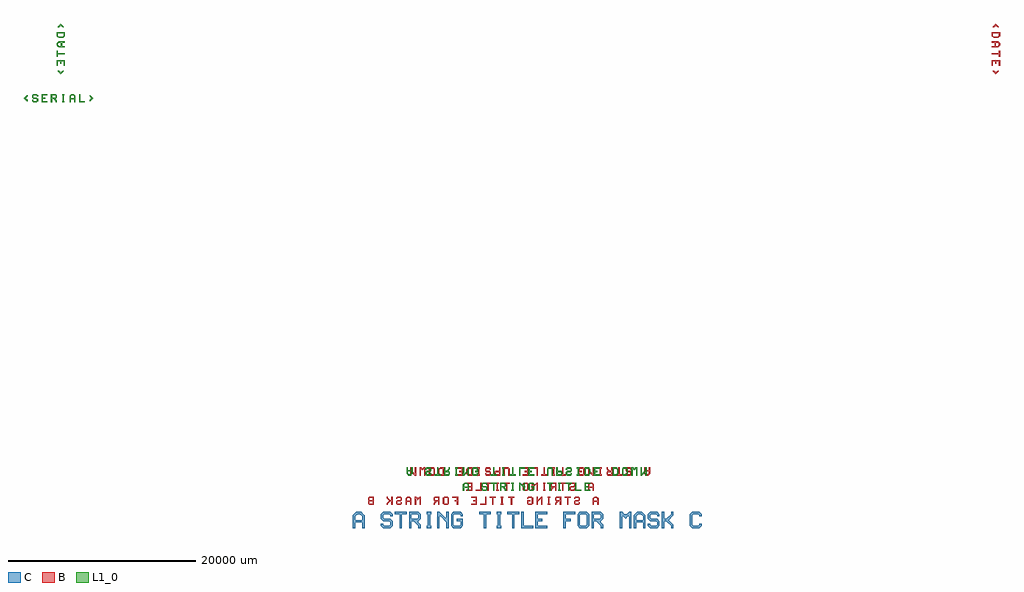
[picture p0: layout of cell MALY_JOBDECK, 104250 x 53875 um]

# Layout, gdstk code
import gdstk
lib = gdstk.Library(unit=1e-6, precision=1e-09)
def P(c, l, *ps):  # polygons
    for p in ps: c.add(gdstk.Polygon(p, *l))
L1_0 = (1, 0)
B = (2, 0)
C = (3, 0)

mask_c = lib.new_cell('MASK_C')
P(mask_c, C, [(125,-52000),(0,-51875),(0,-51250),(125,-51125),(500,-51125),(625,-51250),(625,-51375),(500,-51375),(500,-51312.5),(437.5,-51250),(187.5,-51250),(125,-51312.5),(125,-51812.5),(187.5,-51875),(437.5,-51875),(500,-51812.5),(500,-51625),(312.5,-51625),(312.5,-51500),(625,-51500),(625,-51875),(500,-52000)],
  [(-1000,-52000),(-1000,-51125),(-875,-51125),(-562.5,-51437.5),(-500,-51437.5),(-500,-51125),(-375,-51125),(-375,-52000),(-500,-52000),(-500,-51687.5),(-812.5,-51375),(-875,-51375),(-875,-52000)],
  [(-3750,-52000),(-3750,-51250),(-4000,-51250),(-4000,-51125),(-3375,-51125),(-3375,-51250),(-3625,-51250),(-3625,-52000)],
  [(2250,-52000),(2250,-51250),(2000,-51250),(2000,-51125),(2625,-51125),(2625,-51250),(2375,-51250),(2375,-52000)],
  [(4250,-52000),(4250,-51250),(4000,-51250),(4000,-51125),(4625,-51125),(4625,-51250),(4375,-51250),(4375,-52000)],
  [(10125,-50375),(10000,-50250),(10000,-49625),(10125,-49500),(10500,-49500),(10625,-49625),(10625,-49937.5),(10500,-49937.5),(10500,-49687.5),(10437.5,-49625),(10187.5,-49625),(10125,-49687.5),(10125,-50187.5),(10187.5,-50250),(10437.5,-50250),(10500,-50187.5),(10500,-49937.5),(10625,-49937.5),(10625,-50250),(10500,-50375)],
  [(6000,-50375),(6000,-49500),(6437.5,-49500),(6625,-49687.5),(6625,-50187.5),(6562.5,-50250),(6375,-50250),(6500,-50125),(6500,-49750),(6375,-49625),(6125,-49625),(6125,-50250),(6562.5,-50250),(6437.5,-50375)],
  [(9000,-50375),(9000,-49500),(9437.5,-49500),(9625,-49687.5),(9625,-50187.5),(9562.5,-50250),(9375,-50250),(9500,-50125),(9500,-49750),(9375,-49625),(9125,-49625),(9125,-50250),(9562.5,-50250),(9437.5,-50375)],
  [(3000,-50375),(3000,-49500),(3125,-49500),(3125,-50250),(3437.5,-50250),(3500,-50187.5),(3500,-50062.5),(3437.5,-50000),(3125,-50000),(3125,-49875),(3500,-49875),(3625,-50000),(3625,-50250),(3500,-50375)],
  [(2000,-50375),(2000,-49625),(2125,-49500),(2500,-49500),(2625,-49625),(2625,-50375),(2500,-50375),(2500,-49687.5),(2437.5,-49625),(2187.5,-49625),(2125,-49687.5),(2125,-50375)],
  [(-10875,-56000),(-10875,-55750),(-10750,-55750),(-10750,-54500),(-10875,-54500),(-10875,-54250),(-10375,-54250),(-10375,-54500),(-10500,-54500),(-10500,-55750),(-10375,-55750),(-10375,-56000)],
  [(-3375,-56000),(-3375,-55750),(-3250,-55750),(-3250,-54500),(-3375,-54500),(-3375,-54250),(-2875,-54250),(-2875,-54500),(-3000,-54500),(-3000,-55750),(-2875,-55750),(-2875,-56000)],
  [(-12750,-56000),(-12750,-54250),(-11750,-54250),(-11500,-54500),(-12500,-54500),(-12500,-55000),(-11875,-55000),(-11750,-54875),(-11750,-54625),(-11875,-54500),(-11500,-54500),(-11500,-55000),(-11750,-55250),(-11750,-55375),(-11500,-55625),(-11500,-56000),(-11750,-56000),(-11750,-55750),(-12250,-55250),(-12500,-55250),(-12500,-56000)],
  [(6750,-56000),(6750,-54250),(7750,-54250),(8000,-54500),(7000,-54500),(7000,-55000),(7625,-55000),(7750,-54875),(7750,-54625),(7625,-54500),(8000,-54500),(8000,-55000),(7750,-55250),(7750,-55375),(8000,-55625),(8000,-56000),(7750,-56000),(7750,-55750),(7250,-55250),(7000,-55250),(7000,-56000)],
  [(-15500,-56000),(-15750,-55750),(-15750,-55500),(-15500,-55500),(-15500,-55625),(-15375,-55750),(-14875,-55750),(-14750,-55625),(-14750,-55375),(-14875,-55250),(-15500,-55250),(-15750,-55000),(-15750,-54500),(-15500,-54250),(-14750,-54250),(-14500,-54500),(-14500,-54750),(-14750,-54750),(-14750,-54625),(-14875,-54500),(-15375,-54500),(-15500,-54625),(-15500,-54875),(-15375,-55000),(-14750,-55000),(-14500,-55250),(-14500,-55750),(-14750,-56000)],
  [(13000,-56000),(12750,-55750),(12750,-55500),(13000,-55500),(13000,-55625),(13125,-55750),(13625,-55750),(13750,-55625),(13750,-55375),(13625,-55250),(13000,-55250),(12750,-55000),(12750,-54500),(13000,-54250),(13750,-54250),(14000,-54500),(14000,-54750),(13750,-54750),(13750,-54625),(13625,-54500),(13125,-54500),(13000,-54625),(13000,-54875),(13125,-55000),(13750,-55000),(14000,-55250),(14000,-55750),(13750,-56000)],
  [(5000,-52000),(5000,-51125),(5125,-51125),(5125,-51875),(5625,-51875),(5625,-52000)],
  [(-48000,-10500),(-48000,-9625),(-47875,-9625),(-47875,-10375),(-47375,-10375),(-47375,-10500)],
  [(-750,-56000),(-750,-54250),(-500,-54250),(-500,-55750),(500,-55750),(500,-56000)],
  [(-7000,-52000),(-7000,-51312.5),(-6812.5,-51125),(-6562.5,-51125),(-6437.5,-51250),(-6750,-51250),(-6875,-51375),(-6875,-51562.5),(-6500,-51562.5),(-6500,-51375),(-6625,-51250),(-6437.5,-51250),(-6375,-51312.5),(-6375,-52000),(-6500,-52000),(-6500,-51687.5),(-6875,-51687.5),(-6875,-52000)],
  [(-49000,-10500),(-49000,-9812.5),(-48812.5,-9625),(-48562.5,-9625),(-48437.5,-9750),(-48750,-9750),(-48875,-9875),(-48875,-10062.5),(-48500,-10062.5),(-48500,-9875),(-48625,-9750),(-48437.5,-9750),(-48375,-9812.5),(-48375,-10500),(-48500,-10500),(-48500,-10187.5),(-48875,-10187.5),(-48875,-10500)],
  [(11000,-50375),(11000,-49500),(11187.5,-49500),(11312.5,-49625),(11437.5,-49500),(11625,-49500),(11625,-50375),(11500,-50375),(11500,-49687.5),(11437.5,-49687.5),(11312.5,-49812.5),(11187.5,-49687.5),(11125,-49687.5),(11125,-50375)],
  [(-13750,-56000),(-13750,-54500),(-14250,-54500),(-14250,-54250),(-13000,-54250),(-13000,-54500),(-13500,-54500),(-13500,-56000)],
  [(-4750,-56000),(-4750,-54500),(-5250,-54500),(-5250,-54250),(-4000,-54250),(-4000,-54500),(-4500,-54500),(-4500,-56000)],
  [(-1750,-56000),(-1750,-54500),(-2250,-54500),(-2250,-54250),(-1000,-54250),(-1000,-54500),(-1500,-54500),(-1500,-56000)],
  [(-1812.5,-52000),(-1812.5,-51875),(-1750,-51875),(-1750,-51250),(-1812.5,-51250),(-1812.5,-51125),(-1562.5,-51125),(-1562.5,-51250),(-1625,-51250),(-1625,-51875),(-1562.5,-51875),(-1562.5,-52000)],
  [(3187.5,-52000),(3187.5,-51875),(3250,-51875),(3250,-51250),(3187.5,-51250),(3187.5,-51125),(3437.5,-51125),(3437.5,-51250),(3375,-51250),(3375,-51875),(3437.5,-51875),(3437.5,-52000)],
  [(-7812.5,-50375),(-7812.5,-50250),(-7750,-50250),(-7750,-49625),(-7812.5,-49625),(-7812.5,-49500),(-7562.5,-49500),(-7562.5,-49625),(-7625,-49625),(-7625,-50250),(-7562.5,-50250),(-7562.5,-50375)],
  [(-2812.5,-50375),(-2812.5,-50250),(-2750,-50250),(-2750,-49625),(-2812.5,-49625),(-2812.5,-49500),(-2562.5,-49500),(-2562.5,-49625),(-2625,-49625),(-2625,-50250),(-2562.5,-50250),(-2562.5,-50375)],
  [(5187.5,-50375),(5187.5,-50250),(5250,-50250),(5250,-49625),(5187.5,-49625),(5187.5,-49500),(5437.5,-49500),(5437.5,-49625),(5375,-49625),(5375,-50250),(5437.5,-50250),(5437.5,-50375)],
  [(-49812.5,-10500),(-49812.5,-10375),(-49750,-10375),(-49750,-9750),(-49812.5,-9750),(-49812.5,-9625),(-49562.5,-9625),(-49562.5,-9750),(-49625,-9750),(-49625,-10375),(-49562.5,-10375),(-49562.5,-10500)],
  [(-12812.5,-50375),(-13000,-50187.5),(-13000,-49500),(-12875,-49500),(-12875,-49812.5),(-12500,-49812.5),(-12500,-49500),(-12375,-49500),(-12375,-50187.5),(-12437.5,-50250),(-12625,-50250),(-12500,-50125),(-12500,-49937.5),(-12875,-49937.5),(-12875,-50125),(-12750,-50250),(-12437.5,-50250),(-12562.5,-50375)],
  [(-3000,-52000),(-3000,-51125),(-2500,-51125),(-2375,-51250),(-2875,-51250),(-2875,-51500),(-2562.5,-51500),(-2500,-51437.5),(-2500,-51312.5),(-2562.5,-51250),(-2375,-51250),(-2375,-51500),(-2500,-51625),(-2500,-51687.5),(-2375,-51812.5),(-2375,-52000),(-2500,-52000),(-2500,-51875),(-2750,-51625),(-2875,-51625),(-2875,-52000)],
  [(-51000,-10500),(-51000,-9625),(-50500,-9625),(-50375,-9750),(-50875,-9750),(-50875,-10000),(-50562.5,-10000),(-50500,-9937.5),(-50500,-9812.5),(-50562.5,-9750),(-50375,-9750),(-50375,-10000),(-50500,-10125),(-50500,-10187.5),(-50375,-10312.5),(-50375,-10500),(-50500,-10500),(-50500,-10375),(-50750,-10125),(-50875,-10125),(-50875,-10500)],
  [(-18750,-56000),(-18750,-54625),(-18375,-54250),(-17875,-54250),(-17625,-54500),(-18250,-54500),(-18500,-54750),(-18500,-55125),(-17750,-55125),(-17750,-54750),(-18000,-54500),(-17625,-54500),(-17500,-54625),(-17500,-56000),(-17750,-56000),(-17750,-55375),(-18500,-55375),(-18500,-56000)],
  [(11250,-56000),(11250,-54625),(11625,-54250),(12125,-54250),(12375,-54500),(11750,-54500),(11500,-54750),(11500,-55125),(12250,-55125),(12250,-54750),(12000,-54500),(12375,-54500),(12500,-54625),(12500,-56000),(12250,-56000),(12250,-55375),(11500,-55375),(11500,-56000)],
  [(-10875,-50375),(-11000,-50250),(-11000,-50000),(-10875,-49875),(-10562.5,-49875),(-10500,-49812.5),(-10500,-49687.5),(-10562.5,-49625),(-10812.5,-49625),(-10875,-49687.5),(-10875,-49750),(-11000,-49750),(-11000,-49625),(-10875,-49500),(-10500,-49500),(-10375,-49625),(-10375,-49875),(-10500,-50000),(-10812.5,-50000),(-10875,-50062.5),(-10875,-50187.5),(-10812.5,-50250),(-10562.5,-50250),(-10500,-50187.5),(-10500,-50125),(-10375,-50125),(-10375,-50250),(-10500,-50375)],
  [(4125,-50375),(4000,-50250),(4000,-50000),(4125,-49875),(4437.5,-49875),(4500,-49812.5),(4500,-49687.5),(4437.5,-49625),(4187.5,-49625),(4125,-49687.5),(4125,-49750),(4000,-49750),(4000,-49625),(4125,-49500),(4500,-49500),(4625,-49625),(4625,-49875),(4500,-50000),(4187.5,-50000),(4125,-50062.5),(4125,-50187.5),(4187.5,-50250),(4437.5,-50250),(4500,-50187.5),(4500,-50125),(4625,-50125),(4625,-50250),(4500,-50375)],
  [(-46875,-10375),(-46875,-10250),(-46687.5,-10062.5),(-46875,-9875),(-46875,-9750),(-46812.5,-9750),(-46500,-10062.5),(-46812.5,-10375)],
  [(-53562.5,-10375),(-53875,-10062.5),(-53562.5,-9750),(-53500,-9750),(-53500,-9875),(-53687.5,-10062.5),(-53500,-10250),(-53500,-10375)],
  [(-9000,-50375),(-9000,-49500),(-8875,-49500),(-8875,-49875),(-8750,-49875),(-8500,-49625),(-8500,-49500),(-8375,-49500),(-8375,-49687.5),(-8500,-49812.5),(-8500,-49875),(-8375,-50000),(-8375,-50250),(-8562.5,-50250),(-8500,-50187.5),(-8500,-50062.5),(-8562.5,-50000),(-8875,-50000),(-8875,-50250),(-8375,-50250),(-8500,-50375)],
  [(750,-56000),(750,-54250),(2000,-54250),(2000,-54500),(1000,-54500),(1000,-55000),(1500,-55000),(1500,-55250),(1000,-55250),(1000,-55750),(2000,-55750),(2000,-56000)],
  [(6000,-52000),(6000,-51125),(6625,-51125),(6625,-51250),(6125,-51250),(6125,-51500),(6375,-51500),(6375,-51625),(6125,-51625),(6125,-51875),(6625,-51875),(6625,-52000)],
  [(0,-50375),(0,-49500),(625,-49500),(625,-49625),(125,-49625),(125,-49875),(375,-49875),(375,-50000),(125,-50000),(125,-50250),(625,-50250),(625,-50375)],
  [(7000,-50375),(7000,-49500),(7625,-49500),(7625,-49625),(7125,-49625),(7125,-49875),(7375,-49875),(7375,-50000),(7125,-50000),(7125,-50250),(7625,-50250),(7625,-50375)],
  [(-52000,-10500),(-52000,-9625),(-51375,-9625),(-51375,-9750),(-51875,-9750),(-51875,-10000),(-51625,-10000),(-51625,-10125),(-51875,-10125),(-51875,-10375),(-51375,-10375),(-51375,-10500)],
  [(-7000,-50375),(-7000,-49500),(-6875,-49500),(-6875,-50125),(-6812.5,-50125),(-6500,-49812.5),(-6500,-49500),(-6375,-49500),(-6375,-50375),(-6500,-50375),(-6500,-50062.5),(-6562.5,-50062.5),(-6875,-50375)],
  [(12000,-50375),(12000,-49500),(12125,-49500),(12125,-50125),(12187.5,-50125),(12500,-49812.5),(12500,-49500),(12625,-49500),(12625,-50375),(12500,-50375),(12500,-50062.5),(12437.5,-50062.5),(12125,-50375)],
  [(3750,-56000),(3750,-54250),(5000,-54250),(5000,-54500),(4000,-54500),(4000,-55000),(4500,-55000),(4500,-55250),(4000,-55250),(4000,-56000)],
  [(-4875,-52000),(-5000,-51875),(-5000,-51750),(-4875,-51750),(-4875,-51812.5),(-4812.5,-51875),(-4562.5,-51875),(-4500,-51812.5),(-4500,-51687.5),(-4562.5,-51625),(-4875,-51625),(-5000,-51500),(-5000,-51250),(-4875,-51125),(-4500,-51125),(-4375,-51250),(-4375,-51375),(-4500,-51375),(-4500,-51312.5),(-4562.5,-51250),(-4812.5,-51250),(-4875,-51312.5),(-4875,-51437.5),(-4812.5,-51500),(-4500,-51500),(-4375,-51625),(-4375,-51875),(-4500,-52000)],
  [(-52875,-10500),(-53000,-10375),(-53000,-10250),(-52875,-10250),(-52875,-10312.5),(-52812.5,-10375),(-52562.5,-10375),(-52500,-10312.5),(-52500,-10187.5),(-52562.5,-10125),(-52875,-10125),(-53000,-10000),(-53000,-9750),(-52875,-9625),(-52500,-9625),(-52375,-9750),(-52375,-9875),(-52500,-9875),(-52500,-9812.5),(-52562.5,-9750),(-52812.5,-9750),(-52875,-9812.5),(-52875,-9937.5),(-52812.5,-10000),(-52500,-10000),(-52375,-10125),(-52375,-10375),(-52500,-10500)],
  [(-8000,-56000),(-8250,-55750),(-8250,-54500),(-8000,-54250),(-7250,-54250),(-7000,-54500),(-7000,-54750),(-7250,-54750),(-7250,-54625),(-7375,-54500),(-7875,-54500),(-8000,-54625),(-8000,-55625),(-7875,-55750),(-7375,-55750),(-7250,-55625),(-7250,-55250),(-7625,-55250),(-7625,-55000),(-7000,-55000),(-7000,-55750),(-7250,-56000)],
  [(9750,-56000),(9750,-54250),(10000,-54250),(10250,-54500),(10500,-54500),(10750,-54250),(11000,-54250),(11000,-56000),(10750,-56000),(10750,-54750),(10625,-54750),(10375,-55000),(10125,-54750),(10000,-54750),(10000,-56000)],
  [(14250,-56000),(14250,-54250),(14500,-54250),(14500,-55000),(14750,-55000),(15250,-54500),(15250,-54250),(15500,-54250),(15500,-54625),(15000,-55125),(15500,-55625),(15500,-56000),(15250,-56000),(15250,-55750),(14750,-55250),(14500,-55250),(14500,-56000)],
  [(5500,-56000),(5250,-55750),(5250,-54500),(5500,-54250),(6250,-54250),(6500,-54500),(6500,-55125),(6250,-55125),(6250,-54625),(6125,-54500),(5625,-54500),(5500,-54625),(5500,-55625),(5625,-55750),(6125,-55750),(6250,-55625),(6250,-55125),(6500,-55125),(6500,-55750),(6250,-56000)],
  [(17500,-56000),(17250,-55750),(17250,-54500),(17500,-54250),(18250,-54250),(18500,-54500),(18500,-54750),(18250,-54750),(18250,-54625),(18125,-54500),(17625,-54500),(17500,-54625),(17500,-55625),(17625,-55750),(18125,-55750),(18250,-55625),(18250,-55500),(18500,-55500),(18500,-55750),(18250,-56000)],
  [(-10000,-50375),(-10000,-50250),(-9750,-50250),(-9750,-49500),(-9625,-49500),(-9625,-50250),(-9375,-50250),(-9375,-50375)],
  [(-4000,-50375),(-4000,-50250),(-3750,-50250),(-3750,-49500),(-3625,-49500),(-3625,-50250),(-3375,-50250),(-3375,-50375)],
  [(-2000,-50375),(-2000,-50250),(-1750,-50250),(-1750,-49500),(-1625,-49500),(-1625,-50250),(-1375,-50250),(-1375,-50375)],
  [(-5875,-50375),(-6000,-50250),(-6000,-49625),(-5875,-49500),(-5500,-49500),(-5375,-49625),(-5375,-50000),(-5687.5,-50000),(-5687.5,-49875),(-5500,-49875),(-5500,-49687.5),(-5562.5,-49625),(-5812.5,-49625),(-5875,-49687.5),(-5875,-50187.5),(-5812.5,-50250),(-5562.5,-50250),(-5500,-50187.5),(-5500,-50125),(-5375,-50125),(-5375,-50250),(-5500,-50375)],
  [(-9750,-56000),(-9750,-54250),(-9500,-54250),(-8875,-54875),(-8750,-54875),(-8750,-54250),(-8500,-54250),(-8500,-56000),(-8750,-56000),(-8750,-55375),(-9375,-54750),(-9500,-54750),(-9500,-56000)],
  [(-1000,-50375),(-1000,-49500),(-375,-49500),(-375,-49625),(-875,-49625),(-875,-50375)])

mask_b = lib.new_cell('MASK_B')
P(mask_b, B, [(-11625,-50375),(-11625,-49500),(-11437.5,-49500),(-11312.5,-49625),(-11187.5,-49500),(-11000,-49500),(-11000,-50375),(-11125,-50375),(-11125,-49687.5),(-11187.5,-49687.5),(-11312.5,-49812.5),(-11437.5,-49687.5),(-11500,-49687.5),(-11500,-50375)],
  [(0,-53500),(-125,-53375),(-125,-53000),(187.5,-53000),(187.5,-53125),(0,-53125),(0,-53312.5),(62.5,-53375),(312.5,-53375),(375,-53312.5),(375,-52812.5),(312.5,-52750),(62.5,-52750),(0,-52812.5),(0,-52875),(-125,-52875),(-125,-52750),(0,-52625),(375,-52625),(500,-52750),(500,-53375),(375,-53500)],
  [(-500,-52000),(-625,-51875),(-625,-51500),(-312.5,-51500),(-312.5,-51625),(-500,-51625),(-500,-51812.5),(-437.5,-51875),(-187.5,-51875),(-125,-51812.5),(-125,-51312.5),(-187.5,-51250),(-437.5,-51250),(-500,-51312.5),(-500,-51375),(-625,-51375),(-625,-51250),(-500,-51125),(-125,-51125),(0,-51250),(0,-51875),(-125,-52000)],
  [(875,-53500),(875,-52625),(1000,-52625),(1000,-52937.5),(1062.5,-52937.5),(1375,-52625),(1500,-52625),(1500,-53500),(1375,-53500),(1375,-52875),(1312.5,-52875),(1000,-53187.5),(1000,-53500)],
  [(375,-52000),(375,-51125),(500,-51125),(500,-51437.5),(562.5,-51437.5),(875,-51125),(1000,-51125),(1000,-52000),(875,-52000),(875,-51375),(812.5,-51375),(500,-51687.5),(500,-52000)],
  [(49625,-2500),(49625,-2437.5),(49937.5,-2125),(50250,-2437.5),(50250,-2500),(50125,-2500),(49937.5,-2312.5),(49750,-2500)],
  [(-3875,-53500),(-3875,-52750),(-4125,-52750),(-4125,-52625),(-3500,-52625),(-3500,-52750),(-3750,-52750),(-3750,-53500)],
  [(-1875,-53500),(-1875,-52750),(-2125,-52750),(-2125,-52625),(-1500,-52625),(-1500,-52750),(-1750,-52750),(-1750,-53500)],
  [(4125,-53500),(4125,-52750),(3875,-52750),(3875,-52625),(4500,-52625),(4500,-52750),(4250,-52750),(4250,-53500)],
  [(-4375,-52000),(-4375,-51250),(-4625,-51250),(-4625,-51125),(-4000,-51125),(-4000,-51250),(-4250,-51250),(-4250,-52000)],
  [(-2375,-52000),(-2375,-51250),(-2625,-51250),(-2625,-51125),(-2000,-51125),(-2000,-51250),(-2250,-51250),(-2250,-52000)],
  [(3625,-52000),(3625,-51250),(3375,-51250),(3375,-51125),(4000,-51125),(4000,-51250),(3750,-51250),(3750,-52000)],
  [(-13125,-53500),(-13125,-52812.5),(-13062.5,-52750),(-12875,-52750),(-13000,-52875),(-13000,-53062.5),(-12625,-53062.5),(-12625,-52875),(-12750,-52750),(-13062.5,-52750),(-12937.5,-52625),(-12687.5,-52625),(-12500,-52812.5),(-12500,-53500),(-12625,-53500),(-12625,-53187.5),(-13000,-53187.5),(-13000,-53500)],
  [(6875,-53500),(6875,-52812.5),(6937.5,-52750),(7125,-52750),(7000,-52875),(7000,-53062.5),(7375,-53062.5),(7375,-52875),(7250,-52750),(6937.5,-52750),(7062.5,-52625),(7312.5,-52625),(7500,-52812.5),(7500,-53500),(7375,-53500),(7375,-53187.5),(7000,-53187.5),(7000,-53500)],
  [(6375,-52000),(6375,-51312.5),(6437.5,-51250),(6625,-51250),(6500,-51375),(6500,-51562.5),(6875,-51562.5),(6875,-51375),(6750,-51250),(6437.5,-51250),(6562.5,-51125),(6812.5,-51125),(7000,-51312.5),(7000,-52000),(6875,-52000),(6875,-51687.5),(6500,-51687.5),(6500,-52000)],
  [(-6125,-53500),(-6125,-53375),(-5625,-53375),(-5625,-53125),(-5875,-53125),(-5875,-53000),(-5625,-53000),(-5625,-52750),(-6125,-52750),(-6125,-52625),(-5500,-52625),(-5500,-53500)],
  [(-6625,-52000),(-6625,-51875),(-6125,-51875),(-6125,-51625),(-6375,-51625),(-6375,-51500),(-6125,-51500),(-6125,-51250),(-6625,-51250),(-6625,-51125),(-6000,-51125),(-6000,-52000)],
  [(-7625,-50375),(-7625,-50250),(-7125,-50250),(-7125,-50000),(-7375,-50000),(-7375,-49875),(-7125,-49875),(-7125,-49625),(-7625,-49625),(-7625,-49500),(-7000,-49500),(-7000,-50375)],
  [(-625,-50375),(-625,-50250),(-125,-50250),(-125,-50000),(-375,-50000),(-375,-49875),(-125,-49875),(-125,-49625),(-625,-49625),(-625,-49500),(0,-49500),(0,-50375)],
  [(-14000,-53500),(-14125,-53375),(-14125,-53125),(-14000,-53000),(-13687.5,-53000),(-13625,-52937.5),(-13625,-52812.5),(-13687.5,-52750),(-13937.5,-52750),(-14000,-52812.5),(-14000,-52875),(-14125,-52875),(-14125,-52750),(-14000,-52625),(-13625,-52625),(-13500,-52750),(-13500,-53000),(-13625,-53125),(-13937.5,-53125),(-14000,-53187.5),(-14000,-53312.5),(-13937.5,-53375),(-13687.5,-53375),(-13625,-53312.5),(-13625,-53250),(-13500,-53250),(-13500,-53375),(-13625,-53500)],
  [(5000,-53500),(4875,-53375),(4875,-53125),(5000,-53000),(5312.5,-53000),(5375,-52937.5),(5375,-52812.5),(5312.5,-52750),(5062.5,-52750),(5000,-52812.5),(5000,-52875),(4875,-52875),(4875,-52750),(5000,-52625),(5375,-52625),(5500,-52750),(5500,-53000),(5375,-53125),(5062.5,-53125),(5000,-53187.5),(5000,-53312.5),(5062.5,-53375),(5312.5,-53375),(5375,-53312.5),(5375,-53250),(5500,-53250),(5500,-53375),(5375,-53500)],
  [(4500,-52000),(4375,-51875),(4375,-51625),(4500,-51500),(4812.5,-51500),(4875,-51437.5),(4875,-51312.5),(4812.5,-51250),(4562.5,-51250),(4500,-51312.5),(4500,-51375),(4375,-51375),(4375,-51250),(4500,-51125),(4875,-51125),(5000,-51250),(5000,-51500),(4875,-51625),(4562.5,-51625),(4500,-51687.5),(4500,-51812.5),(4562.5,-51875),(4812.5,-51875),(4875,-51812.5),(4875,-51750),(5000,-51750),(5000,-51875),(4875,-52000)],
  [(49500,-6625),(49500,-6000),(50375,-6000),(50375,-6625),(50250,-6625),(50250,-6125),(50000,-6125),(50000,-6375),(49875,-6375),(49875,-6125),(49625,-6125),(49625,-6625)],
  [(49937.5,-7500),(49625,-7187.5),(49625,-7125),(49750,-7125),(49937.5,-7312.5),(50125,-7125),(50250,-7125),(50250,-7187.5)],
  [(-2937.5,-53500),(-2937.5,-53375),(-2875,-53375),(-2875,-52750),(-2937.5,-52750),(-2937.5,-52625),(-2687.5,-52625),(-2687.5,-52750),(-2750,-52750),(-2750,-53375),(-2687.5,-53375),(-2687.5,-53500)],
  [(2062.5,-53500),(2062.5,-53375),(2125,-53375),(2125,-52750),(2062.5,-52750),(2062.5,-52625),(2312.5,-52625),(2312.5,-52750),(2250,-52750),(2250,-53375),(2312.5,-53375),(2312.5,-53500)],
  [(-3437.5,-52000),(-3437.5,-51875),(-3375,-51875),(-3375,-51250),(-3437.5,-51250),(-3437.5,-51125),(-3187.5,-51125),(-3187.5,-51250),(-3250,-51250),(-3250,-51875),(-3187.5,-51875),(-3187.5,-52000)],
  [(1562.5,-52000),(1562.5,-51875),(1625,-51875),(1625,-51250),(1562.5,-51250),(1562.5,-51125),(1812.5,-51125),(1812.5,-51250),(1750,-51250),(1750,-51875),(1812.5,-51875),(1812.5,-52000)],
  [(-5437.5,-50375),(-5437.5,-50250),(-5375,-50250),(-5375,-49625),(-5437.5,-49625),(-5437.5,-49500),(-5187.5,-49500),(-5187.5,-49625),(-5250,-49625),(-5250,-50250),(-5187.5,-50250),(-5187.5,-50375)],
  [(2562.5,-50375),(2562.5,-50250),(2625,-50250),(2625,-49625),(2562.5,-49625),(2562.5,-49500),(2812.5,-49500),(2812.5,-49625),(2750,-49625),(2750,-50250),(2812.5,-50250),(2812.5,-50375)],
  [(7562.5,-50375),(7562.5,-50250),(7625,-50250),(7625,-49625),(7562.5,-49625),(7562.5,-49500),(7812.5,-49500),(7812.5,-49625),(7750,-49625),(7750,-50250),(7812.5,-50250),(7812.5,-50375)],
  [(-10125,-53500),(-10125,-53312.5),(-10000,-53187.5),(-10000,-53125),(-10125,-53000),(-10125,-52750),(-9937.5,-52750),(-10000,-52812.5),(-10000,-52937.5),(-9937.5,-53000),(-9625,-53000),(-9625,-52750),(-10125,-52750),(-10000,-52625),(-9500,-52625),(-9500,-53500),(-9625,-53500),(-9625,-53125),(-9750,-53125),(-10000,-53375),(-10000,-53500)],
  [(2875,-53500),(2875,-53312.5),(3000,-53187.5),(3000,-53125),(2875,-53000),(2875,-52750),(3062.5,-52750),(3000,-52812.5),(3000,-52937.5),(3062.5,-53000),(3375,-53000),(3375,-52750),(2875,-52750),(3000,-52625),(3500,-52625),(3500,-53500),(3375,-53500),(3375,-53125),(3250,-53125),(3000,-53375),(3000,-53500)],
  [(2375,-52000),(2375,-51812.5),(2500,-51687.5),(2500,-51625),(2375,-51500),(2375,-51250),(2562.5,-51250),(2500,-51312.5),(2500,-51437.5),(2562.5,-51500),(2875,-51500),(2875,-51250),(2375,-51250),(2500,-51125),(3000,-51125),(3000,-52000),(2875,-52000),(2875,-51625),(2750,-51625),(2500,-51875),(2500,-52000)],
  [(-12625,-50375),(-12625,-49500),(-12500,-49500),(-12500,-49812.5),(-12187.5,-50125),(-12125,-50125),(-12125,-49500),(-12000,-49500),(-12000,-50375),(-12125,-50375),(-12437.5,-50062.5),(-12500,-50062.5),(-12500,-50375)],
  [(6375,-50375),(6375,-49500),(6500,-49500),(6500,-49812.5),(6812.5,-50125),(6875,-50125),(6875,-49500),(7000,-49500),(7000,-50375),(6875,-50375),(6562.5,-50062.5),(6500,-50062.5),(6500,-50375)],
  [(49687.5,-3625),(49500,-3437.5),(49500,-3000),(50375,-3000),(50375,-3437.5),(50250,-3562.5),(50250,-3125),(49625,-3125),(49625,-3375),(49750,-3500),(50125,-3500),(50250,-3375),(50250,-3562.5),(50187.5,-3625)],
  [(49500,-4625),(49500,-4500),(49812.5,-4500),(49812.5,-4125),(49500,-4125),(49500,-4000),(50187.5,-4000),(50375,-4187.5),(50375,-4437.5),(50250,-4562.5),(50250,-4250),(50125,-4125),(49937.5,-4125),(49937.5,-4500),(50125,-4500),(50250,-4375),(50250,-4562.5),(50187.5,-4625)],
  [(-2625,-50375),(-2625,-49625),(-2500,-49500),(-2125,-49500),(-2000,-49625),(-2000,-50375),(-2125,-50375),(-2125,-49687.5),(-2187.5,-49625),(-2437.5,-49625),(-2500,-49687.5),(-2500,-50375)],
  [(-5125,-53500),(-5125,-53375),(-4625,-53375),(-4625,-52625),(-4500,-52625),(-4500,-53500)],
  [(-5625,-52000),(-5625,-51875),(-5125,-51875),(-5125,-51125),(-5000,-51125),(-5000,-52000)],
  [(-7625,-53500),(-7625,-53125),(-7875,-53125),(-7875,-53000),(-7625,-53000),(-7625,-52750),(-8125,-52750),(-8125,-52625),(-7500,-52625),(-7500,-53500)],
  [(-9437.5,-50375),(-9562.5,-50250),(-9125,-50250),(-9125,-49625),(-9375,-49625),(-9500,-49750),(-9500,-50125),(-9375,-50250),(-9562.5,-50250),(-9625,-50187.5),(-9625,-49687.5),(-9437.5,-49500),(-9000,-49500),(-9000,-50375)],
  [(-6437.5,-50375),(-6562.5,-50250),(-6125,-50250),(-6125,-49625),(-6375,-49625),(-6500,-49750),(-6500,-50125),(-6375,-50250),(-6562.5,-50250),(-6625,-50187.5),(-6625,-49687.5),(-6437.5,-49500),(-6000,-49500),(-6000,-50375)],
  [(-15125,-53500),(-15125,-53312.5),(-14875,-53062.5),(-15125,-52812.5),(-15125,-52625),(-15000,-52625),(-15000,-52750),(-14750,-53000),(-14625,-53000),(-14625,-52625),(-14500,-52625),(-14500,-53500),(-14625,-53500),(-14625,-53125),(-14750,-53125),(-15000,-53375),(-15000,-53500)],
  [(875,-50375),(875,-49625),(375,-49625),(375,-49500),(1000,-49500),(1000,-50375)],
  [(-9000,-53500),(-9125,-53375),(-9125,-53062.5),(-9000,-53062.5),(-9000,-53312.5),(-8937.5,-53375),(-8687.5,-53375),(-8625,-53312.5),(-8625,-52812.5),(-8687.5,-52750),(-8937.5,-52750),(-9000,-52812.5),(-9000,-53062.5),(-9125,-53062.5),(-9125,-52750),(-9000,-52625),(-8625,-52625),(-8500,-52750),(-8500,-53375),(-8625,-53500)],
  [(-10500,-50375),(-10625,-50250),(-10625,-49937.5),(-10500,-49937.5),(-10500,-50187.5),(-10437.5,-50250),(-10187.5,-50250),(-10125,-50187.5),(-10125,-49687.5),(-10187.5,-49625),(-10437.5,-49625),(-10500,-49687.5),(-10500,-49937.5),(-10625,-49937.5),(-10625,-49625),(-10500,-49500),(-10125,-49500),(-10000,-49625),(-10000,-50250),(-10125,-50375)],
  [(12562.5,-50375),(12437.5,-50250),(12750,-50250),(12875,-50125),(12875,-49937.5),(12500,-49937.5),(12500,-50125),(12625,-50250),(12437.5,-50250),(12375,-50187.5),(12375,-49500),(12500,-49500),(12500,-49812.5),(12875,-49812.5),(12875,-49500),(13000,-49500),(13000,-50187.5),(12812.5,-50375)],
  [(-12125,-53500),(-12125,-52625),(-12000,-52625),(-11875,-52750),(-11750,-52750),(-11625,-52625),(-11500,-52625),(-11500,-53500),(-11625,-53500),(-11625,-52875),(-11687.5,-52875),(-11812.5,-53000),(-11937.5,-52875),(-12000,-52875),(-12000,-53500)],
  [(-17000,-53500),(-17125,-53375),(-17125,-53125),(-16937.5,-53125),(-17000,-53187.5),(-17000,-53312.5),(-16937.5,-53375),(-16625,-53375),(-16625,-53125),(-17125,-53125),(-17062.5,-53062.5),(-17125,-53000),(-17125,-52750),(-16937.5,-52750),(-17000,-52812.5),(-17000,-52937.5),(-16937.5,-53000),(-16625,-53000),(-16625,-52750),(-17125,-52750),(-17000,-52625),(-16500,-52625),(-16500,-53500)],
  [(-4500,-50375),(-4625,-50250),(-4625,-50125),(-4500,-50125),(-4500,-50187.5),(-4437.5,-50250),(-4187.5,-50250),(-4125,-50187.5),(-4125,-50062.5),(-4187.5,-50000),(-4500,-50000),(-4625,-49875),(-4625,-49625),(-4500,-49500),(-4125,-49500),(-4000,-49625),(-4000,-49750),(-4125,-49750),(-4125,-49687.5),(-4187.5,-49625),(-4437.5,-49625),(-4500,-49687.5),(-4500,-49812.5),(-4437.5,-49875),(-4125,-49875),(-4000,-50000),(-4000,-50250),(-4125,-50375)],
  [(10500,-50375),(10375,-50250),(10375,-50125),(10500,-50125),(10500,-50187.5),(10562.5,-50250),(10812.5,-50250),(10875,-50187.5),(10875,-50062.5),(10812.5,-50000),(10500,-50000),(10375,-49875),(10375,-49625),(10500,-49500),(10875,-49500),(11000,-49625),(11000,-49750),(10875,-49750),(10875,-49687.5),(10812.5,-49625),(10562.5,-49625),(10500,-49687.5),(10500,-49812.5),(10562.5,-49875),(10875,-49875),(11000,-50000),(11000,-50250),(10875,-50375)],
  [(8500,-50375),(8375,-50250),(8875,-50250),(8875,-50000),(8562.5,-50000),(8500,-50062.5),(8500,-50187.5),(8562.5,-50250),(8375,-50250),(8375,-50000),(8500,-49875),(8500,-49812.5),(8375,-49687.5),(8375,-49500),(8500,-49500),(8500,-49625),(8750,-49875),(8875,-49875),(8875,-49500),(9000,-49500),(9000,-50375)],
  [(1375,-50375),(1375,-50250),(1625,-50250),(1625,-49500),(1750,-49500),(1750,-50250),(2000,-50250),(2000,-50375)],
  [(3375,-50375),(3375,-50250),(3625,-50250),(3625,-49500),(3750,-49500),(3750,-50250),(4000,-50250),(4000,-50375)],
  [(9375,-50375),(9375,-50250),(9625,-50250),(9625,-49500),(9750,-49500),(9750,-50250),(10000,-50250),(10000,-50375)],
  [(5500,-50375),(5375,-50250),(5375,-50125),(5500,-50125),(5500,-50187.5),(5562.5,-50250),(5812.5,-50250),(5875,-50187.5),(5875,-49687.5),(5812.5,-49625),(5562.5,-49625),(5500,-49687.5),(5500,-49875),(5687.5,-49875),(5687.5,-50000),(5375,-50000),(5375,-49625),(5500,-49500),(5875,-49500),(6000,-49625),(6000,-50250),(5875,-50375)],
  [(50250,-5625),(50250,-5375),(49500,-5375),(49500,-5250),(50250,-5250),(50250,-5000),(50375,-5000),(50375,-5625)],
  [(-3500,-50375),(-3625,-50250),(-3625,-50000),(-3500,-49875),(-3125,-49875),(-3125,-50000),(-3437.5,-50000),(-3500,-50062.5),(-3500,-50187.5),(-3437.5,-50250),(-3125,-50250),(-3125,-49500),(-3000,-49500),(-3000,-50375)])

mask_a = lib.new_cell('MASK_A')
P(mask_a, L1_0, [(-1000,-52000),(-1000,-51125),(-875,-51125),(-562.5,-51437.5),(-500,-51437.5),(-500,-51125),(-375,-51125),(-375,-52000),(-500,-52000),(-500,-51687.5),(-812.5,-51375),(-875,-51375),(-875,-52000)],
  [(-3750,-52000),(-3750,-51250),(-4000,-51250),(-4000,-51125),(-3375,-51125),(-3375,-51250),(-3625,-51250),(-3625,-52000)],
  [(2250,-52000),(2250,-51250),(2000,-51250),(2000,-51125),(2625,-51125),(2625,-51250),(2375,-51250),(2375,-52000)],
  [(4250,-52000),(4250,-51250),(4000,-51250),(4000,-51125),(4625,-51125),(4625,-51250),(4375,-51250),(4375,-52000)],
  [(11000,-50375),(11000,-49500),(11187.5,-49500),(11312.5,-49625),(11437.5,-49500),(11625,-49500),(11625,-50375),(11500,-50375),(11500,-49687.5),(11437.5,-49687.5),(11312.5,-49812.5),(11187.5,-49687.5),(11125,-49687.5),(11125,-50375)],
  [(6000,-50375),(6000,-49500),(6437.5,-49500),(6625,-49687.5),(6625,-50187.5),(6562.5,-50250),(6375,-50250),(6500,-50125),(6500,-49750),(6375,-49625),(6125,-49625),(6125,-50250),(6562.5,-50250),(6437.5,-50375)],
  [(9000,-50375),(9000,-49500),(9437.5,-49500),(9625,-49687.5),(9625,-50187.5),(9562.5,-50250),(9375,-50250),(9500,-50125),(9500,-49750),(9375,-49625),(9125,-49625),(9125,-50250),(9562.5,-50250),(9437.5,-50375)],
  [(-1000,-50375),(-1000,-49500),(-375,-49500),(-375,-49625),(-875,-49625),(-875,-50375)],
  [(-5875,-50375),(-6000,-50250),(-6000,-49625),(-5875,-49500),(-5500,-49500),(-5375,-49625),(-5375,-50000),(-5687.5,-50000),(-5687.5,-49875),(-5500,-49875),(-5500,-49687.5),(-5562.5,-49625),(-5812.5,-49625),(-5875,-49687.5),(-5875,-50187.5),(-5812.5,-50250),(-5562.5,-50250),(-5500,-50187.5),(-5500,-50125),(-5375,-50125),(-5375,-50250),(-5500,-50375)],
  [(-7000,-50375),(-7000,-49500),(-6875,-49500),(-6875,-50125),(-6812.5,-50125),(-6500,-49812.5),(-6500,-49500),(-6375,-49500),(-6375,-50375),(-6500,-50375),(-6500,-50062.5),(-6562.5,-50062.5),(-6875,-50375)],
  [(12000,-50375),(12000,-49500),(12125,-49500),(12125,-50125),(12187.5,-50125),(12500,-49812.5),(12500,-49500),(12625,-49500),(12625,-50375),(12500,-50375),(12500,-50062.5),(12437.5,-50062.5),(12125,-50375)],
  [(-9000,-50375),(-9000,-49500),(-8875,-49500),(-8875,-49875),(-8750,-49875),(-8500,-49625),(-8500,-49500),(-8375,-49500),(-8375,-49687.5),(-8500,-49812.5),(-8500,-49875),(-8375,-50000),(-8375,-50250),(-8562.5,-50250),(-8500,-50187.5),(-8500,-50062.5),(-8562.5,-50000),(-8875,-50000),(-8875,-50250),(-8375,-50250),(-8500,-50375)],
  [(-10000,-50375),(-10000,-50250),(-9750,-50250),(-9750,-49500),(-9625,-49500),(-9625,-50250),(-9375,-50250),(-9375,-50375)],
  [(-4000,-50375),(-4000,-50250),(-3750,-50250),(-3750,-49500),(-3625,-49500),(-3625,-50250),(-3375,-50250),(-3375,-50375)],
  [(-2000,-50375),(-2000,-50250),(-1750,-50250),(-1750,-49500),(-1625,-49500),(-1625,-50250),(-1375,-50250),(-1375,-50375)],
  [(3000,-50375),(3000,-49500),(3125,-49500),(3125,-50250),(3437.5,-50250),(3500,-50187.5),(3500,-50062.5),(3437.5,-50000),(3125,-50000),(3125,-49875),(3500,-49875),(3625,-50000),(3625,-50250),(3500,-50375)],
  [(-4875,-52000),(-5000,-51875),(-5000,-51750),(-4875,-51750),(-4875,-51812.5),(-4812.5,-51875),(-4562.5,-51875),(-4500,-51812.5),(-4500,-51687.5),(-4562.5,-51625),(-4875,-51625),(-5000,-51500),(-5000,-51250),(-4875,-51125),(-4500,-51125),(-4375,-51250),(-4375,-51375),(-4500,-51375),(-4500,-51312.5),(-4562.5,-51250),(-4812.5,-51250),(-4875,-51312.5),(-4875,-51437.5),(-4812.5,-51500),(-4500,-51500),(-4375,-51625),(-4375,-51875),(-4500,-52000)],
  [(-52875,-10500),(-53000,-10375),(-53000,-10250),(-52875,-10250),(-52875,-10312.5),(-52812.5,-10375),(-52562.5,-10375),(-52500,-10312.5),(-52500,-10187.5),(-52562.5,-10125),(-52875,-10125),(-53000,-10000),(-53000,-9750),(-52875,-9625),(-52500,-9625),(-52375,-9750),(-52375,-9875),(-52500,-9875),(-52500,-9812.5),(-52562.5,-9750),(-52812.5,-9750),(-52875,-9812.5),(-52875,-9937.5),(-52812.5,-10000),(-52500,-10000),(-52375,-10125),(-52375,-10375),(-52500,-10500)],
  [(-50187.5,-3625),(-50250,-3562.5),(-50250,-3375),(-50125,-3500),(-49750,-3500),(-49625,-3375),(-49625,-3125),(-50250,-3125),(-50250,-3562.5),(-50375,-3437.5),(-50375,-3000),(-49500,-3000),(-49500,-3437.5),(-49687.5,-3625)],
  [(10125,-50375),(10000,-50250),(10000,-49625),(10125,-49500),(10500,-49500),(10625,-49625),(10625,-49937.5),(10500,-49937.5),(10500,-49687.5),(10437.5,-49625),(10187.5,-49625),(10125,-49687.5),(10125,-50187.5),(10187.5,-50250),(10437.5,-50250),(10500,-50187.5),(10500,-49937.5),(10625,-49937.5),(10625,-50250),(10500,-50375)],
  [(-49937.5,-7500),(-50250,-7187.5),(-50250,-7125),(-50125,-7125),(-49937.5,-7312.5),(-49750,-7125),(-49625,-7125),(-49625,-7187.5)],
  [(2000,-50375),(2000,-49625),(2125,-49500),(2500,-49500),(2625,-49625),(2625,-50375),(2500,-50375),(2500,-49687.5),(2437.5,-49625),(2187.5,-49625),(2125,-49687.5),(2125,-50375)],
  [(-50375,-5625),(-50375,-5000),(-50250,-5000),(-50250,-5250),(-49500,-5250),(-49500,-5375),(-50250,-5375),(-50250,-5625)],
  [(-10875,-50375),(-11000,-50250),(-11000,-50000),(-10875,-49875),(-10562.5,-49875),(-10500,-49812.5),(-10500,-49687.5),(-10562.5,-49625),(-10812.5,-49625),(-10875,-49687.5),(-10875,-49750),(-11000,-49750),(-11000,-49625),(-10875,-49500),(-10500,-49500),(-10375,-49625),(-10375,-49875),(-10500,-50000),(-10812.5,-50000),(-10875,-50062.5),(-10875,-50187.5),(-10812.5,-50250),(-10562.5,-50250),(-10500,-50187.5),(-10500,-50125),(-10375,-50125),(-10375,-50250),(-10500,-50375)],
  [(4125,-50375),(4000,-50250),(4000,-50000),(4125,-49875),(4437.5,-49875),(4500,-49812.5),(4500,-49687.5),(4437.5,-49625),(4187.5,-49625),(4125,-49687.5),(4125,-49750),(4000,-49750),(4000,-49625),(4125,-49500),(4500,-49500),(4625,-49625),(4625,-49875),(4500,-50000),(4187.5,-50000),(4125,-50062.5),(4125,-50187.5),(4187.5,-50250),(4437.5,-50250),(4500,-50187.5),(4500,-50125),(4625,-50125),(4625,-50250),(4500,-50375)],
  [(-50187.5,-4625),(-50250,-4562.5),(-50250,-4375),(-50125,-4500),(-49937.5,-4500),(-49937.5,-4125),(-50125,-4125),(-50250,-4250),(-50250,-4562.5),(-50375,-4437.5),(-50375,-4187.5),(-50187.5,-4000),(-49500,-4000),(-49500,-4125),(-49812.5,-4125),(-49812.5,-4500),(-49500,-4500),(-49500,-4625)],
  [(-50375,-6625),(-50375,-6000),(-49500,-6000),(-49500,-6625),(-49625,-6625),(-49625,-6125),(-49875,-6125),(-49875,-6375),(-50000,-6375),(-50000,-6125),(-50250,-6125),(-50250,-6625)],
  [(125,-52000),(0,-51875),(0,-51250),(125,-51125),(500,-51125),(625,-51250),(625,-51375),(500,-51375),(500,-51312.5),(437.5,-51250),(187.5,-51250),(125,-51312.5),(125,-51812.5),(187.5,-51875),(437.5,-51875),(500,-51812.5),(500,-51625),(312.5,-51625),(312.5,-51500),(625,-51500),(625,-51875),(500,-52000)],
  [(-46875,-10375),(-46875,-10250),(-46687.5,-10062.5),(-46875,-9875),(-46875,-9750),(-46812.5,-9750),(-46500,-10062.5),(-46812.5,-10375)],
  [(-53562.5,-10375),(-53875,-10062.5),(-53562.5,-9750),(-53500,-9750),(-53500,-9875),(-53687.5,-10062.5),(-53500,-10250),(-53500,-10375)],
  [(6000,-52000),(6000,-51125),(6625,-51125),(6625,-51250),(6125,-51250),(6125,-51500),(6375,-51500),(6375,-51625),(6125,-51625),(6125,-51875),(6625,-51875),(6625,-52000)],
  [(0,-50375),(0,-49500),(625,-49500),(625,-49625),(125,-49625),(125,-49875),(375,-49875),(375,-50000),(125,-50000),(125,-50250),(625,-50250),(625,-50375)],
  [(7000,-50375),(7000,-49500),(7625,-49500),(7625,-49625),(7125,-49625),(7125,-49875),(7375,-49875),(7375,-50000),(7125,-50000),(7125,-50250),(7625,-50250),(7625,-50375)],
  [(-52000,-10500),(-52000,-9625),(-51375,-9625),(-51375,-9750),(-51875,-9750),(-51875,-10000),(-51625,-10000),(-51625,-10125),(-51875,-10125),(-51875,-10375),(-51375,-10375),(-51375,-10500)],
  [(-12812.5,-50375),(-13000,-50187.5),(-13000,-49500),(-12875,-49500),(-12875,-49812.5),(-12500,-49812.5),(-12500,-49500),(-12375,-49500),(-12375,-50187.5),(-12437.5,-50250),(-12625,-50250),(-12500,-50125),(-12500,-49937.5),(-12875,-49937.5),(-12875,-50125),(-12750,-50250),(-12437.5,-50250),(-12562.5,-50375)],
  [(-3000,-52000),(-3000,-51125),(-2500,-51125),(-2375,-51250),(-2875,-51250),(-2875,-51500),(-2562.5,-51500),(-2500,-51437.5),(-2500,-51312.5),(-2562.5,-51250),(-2375,-51250),(-2375,-51500),(-2500,-51625),(-2500,-51687.5),(-2375,-51812.5),(-2375,-52000),(-2500,-52000),(-2500,-51875),(-2750,-51625),(-2875,-51625),(-2875,-52000)],
  [(-51000,-10500),(-51000,-9625),(-50500,-9625),(-50375,-9750),(-50875,-9750),(-50875,-10000),(-50562.5,-10000),(-50500,-9937.5),(-50500,-9812.5),(-50562.5,-9750),(-50375,-9750),(-50375,-10000),(-50500,-10125),(-50500,-10187.5),(-50375,-10312.5),(-50375,-10500),(-50500,-10500),(-50500,-10375),(-50750,-10125),(-50875,-10125),(-50875,-10500)],
  [(-50250,-2500),(-50250,-2437.5),(-49937.5,-2125),(-49625,-2437.5),(-49625,-2500),(-49750,-2500),(-49937.5,-2312.5),(-50125,-2500)],
  [(-1812.5,-52000),(-1812.5,-51875),(-1750,-51875),(-1750,-51250),(-1812.5,-51250),(-1812.5,-51125),(-1562.5,-51125),(-1562.5,-51250),(-1625,-51250),(-1625,-51875),(-1562.5,-51875),(-1562.5,-52000)],
  [(3187.5,-52000),(3187.5,-51875),(3250,-51875),(3250,-51250),(3187.5,-51250),(3187.5,-51125),(3437.5,-51125),(3437.5,-51250),(3375,-51250),(3375,-51875),(3437.5,-51875),(3437.5,-52000)],
  [(-7812.5,-50375),(-7812.5,-50250),(-7750,-50250),(-7750,-49625),(-7812.5,-49625),(-7812.5,-49500),(-7562.5,-49500),(-7562.5,-49625),(-7625,-49625),(-7625,-50250),(-7562.5,-50250),(-7562.5,-50375)],
  [(-2812.5,-50375),(-2812.5,-50250),(-2750,-50250),(-2750,-49625),(-2812.5,-49625),(-2812.5,-49500),(-2562.5,-49500),(-2562.5,-49625),(-2625,-49625),(-2625,-50250),(-2562.5,-50250),(-2562.5,-50375)],
  [(5187.5,-50375),(5187.5,-50250),(5250,-50250),(5250,-49625),(5187.5,-49625),(5187.5,-49500),(5437.5,-49500),(5437.5,-49625),(5375,-49625),(5375,-50250),(5437.5,-50250),(5437.5,-50375)],
  [(-49812.5,-10500),(-49812.5,-10375),(-49750,-10375),(-49750,-9750),(-49812.5,-9750),(-49812.5,-9625),(-49562.5,-9625),(-49562.5,-9750),(-49625,-9750),(-49625,-10375),(-49562.5,-10375),(-49562.5,-10500)],
  [(-7000,-52000),(-7000,-51312.5),(-6812.5,-51125),(-6562.5,-51125),(-6437.5,-51250),(-6750,-51250),(-6875,-51375),(-6875,-51562.5),(-6500,-51562.5),(-6500,-51375),(-6625,-51250),(-6437.5,-51250),(-6375,-51312.5),(-6375,-52000),(-6500,-52000),(-6500,-51687.5),(-6875,-51687.5),(-6875,-52000)],
  [(-49000,-10500),(-49000,-9812.5),(-48812.5,-9625),(-48562.5,-9625),(-48437.5,-9750),(-48750,-9750),(-48875,-9875),(-48875,-10062.5),(-48500,-10062.5),(-48500,-9875),(-48625,-9750),(-48437.5,-9750),(-48375,-9812.5),(-48375,-10500),(-48500,-10500),(-48500,-10187.5),(-48875,-10187.5),(-48875,-10500)],
  [(5000,-52000),(5000,-51125),(5125,-51125),(5125,-51875),(5625,-51875),(5625,-52000)],
  [(-48000,-10500),(-48000,-9625),(-47875,-9625),(-47875,-10375),(-47375,-10375),(-47375,-10500)])

maly_jobdeck = lib.new_cell('MALY_JOBDECK')
maly_jobdeck.add(gdstk.Reference(mask_c, (0,0)))
maly_jobdeck.add(gdstk.Reference(mask_b, (0,0)))
maly_jobdeck.add(gdstk.Reference(mask_a, (0,0)))

lib.write_gds('MALY_JOBDECK.gds')
